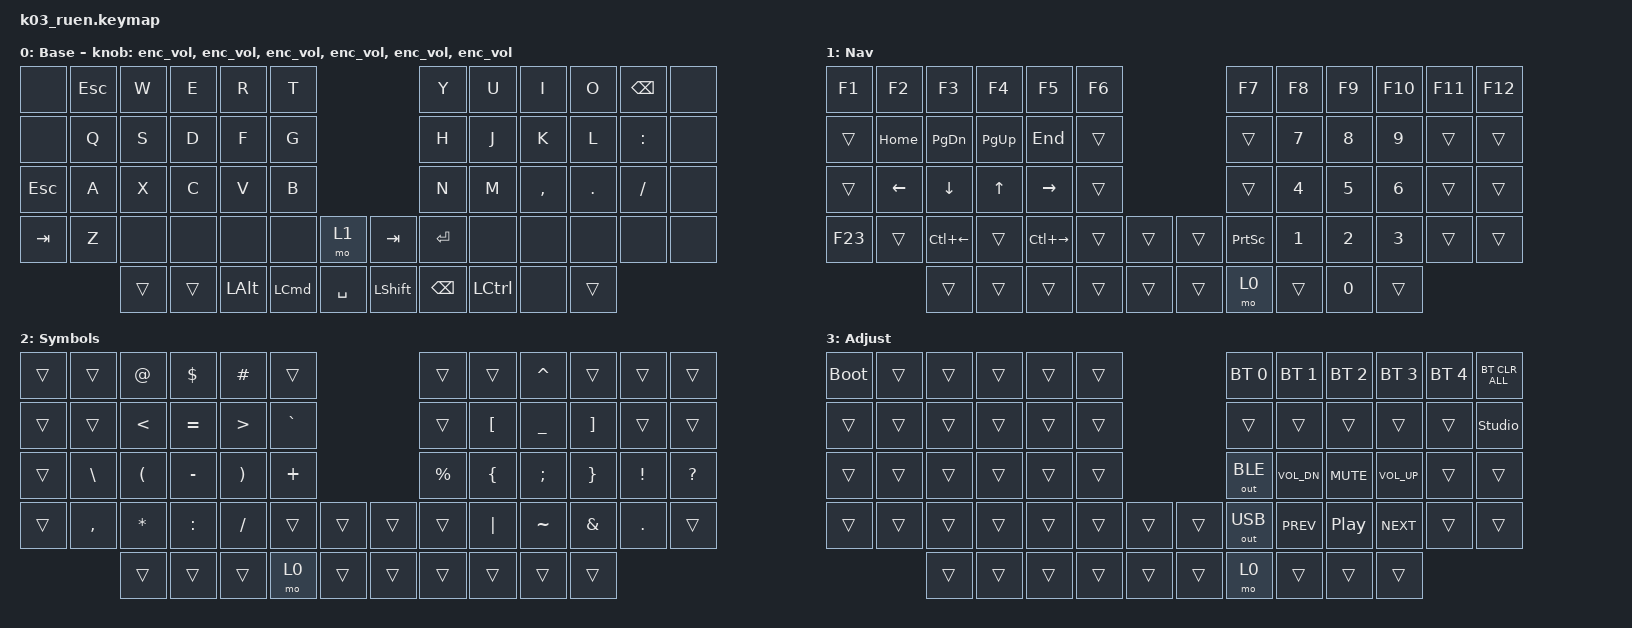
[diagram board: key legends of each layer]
#include "keys_ru.h"
#include <behaviors.dtsi>
#include <dt-bindings/zmk/bt.h>
#include <dt-bindings/zmk/keys.h>
#include <dt-bindings/zmk/outputs.h>

/ {
    behaviors {
        enc_vol: enc_vol {
            compatible = "zmk,behavior-sensor-rotate";
            label = "ENC_VOL";
            #sensor-binding-cells = <0>;
            bindings = <&kp C_VOL_UP>, <&kp C_VOL_DN>;
        };

        hml: hml {
            compatible = "zmk,behavior-hold-tap";
            label = "HML";
            bindings = <&kp>, <&kp>;

            #binding-cells = <2>;
            flavor = "balanced";
            tapping-term-ms = <150>;
            quick-tap-ms = <175>;
            require-prior-idle-ms = <175>;
            hold-trigger-key-positions = <6 7 8 9 10 11 18 19 20 21 22 23 30 31 32 33 34 35 43 44 45 46 47 48 49 55 56 57 58 59>;
            hold-trigger-on-release;
        };

        hmr: hmr {
            compatible = "zmk,behavior-hold-tap";
            label = "HMR";
            bindings = <&kp>, <&kp>;

            #binding-cells = <2>;
            flavor = "balanced";
            tapping-term-ms = <150>;
            quick-tap-ms = <175>;
            require-prior-idle-ms = <175>;
            hold-trigger-key-positions = <0 1 2 3 4 5 12 13 14 15 16 17 24 25 26 27 28 29 36 37 38 39 40 41 42 50 51 52 53 54>;
            hold-trigger-on-release;
        };

        backspace_behaviour: backspace_behaviour {
            compatible = "zmk,behavior-mod-morph";
            label = "BACKSPACE_BEHAVIOUR";
            bindings = <&kp H>, <&kp BACKSPACE>;

            #binding-cells = <0>;
            mods = <(MOD_LCTL|MOD_RCTL)>;
        };

        word_backspace_behaviour: word_backspace_behaviour {
            compatible = "zmk,behavior-mod-morph";
            label = "WORD_BACKSPACE_BEHAVIOUR";
            bindings = <&kp W>, <&kp LA(BACKSPACE)>;

            #binding-cells = <0>;
            mods = <(MOD_RCTL|MOD_LCTL)>;
        };

        colon_semicolon: colon_semicolon {
            compatible = "zmk,behavior-mod-morph";
            label = "COLON_SEMICOLON";
            bindings = <&kp COLON>, <&kp SEMICOLON>;

            #binding-cells = <0>;
            mods = <(MOD_LSFT|MOD_RSFT)>;
        };
    };

    combos {
        compatible = "zmk,combos";

        cmben {
            bindings = <&layer_en>;
            key-positions = <15 16>;
        };

        cmbru {
            bindings = <&layer_ru>;
            key-positions = <15 16>;
            layers = <0>;
        };
    };

    macros {
        to_ru: to_ru {
            compatible = "zmk,behavior-macro";
            #binding-cells = <0>;
            bindings = <&kp LS(LC(N2))>;
            label = "TO_RU";
            wait-ms = <0>;
            tap-ms = <30>;
        };

        to_en: to_en {
            compatible = "zmk,behavior-macro";
            #binding-cells = <0>;
            bindings = <&kp LS(LC(N1))>;
            label = "TO_EN";
            wait-ms = <0>;
            tap-ms = <30>;
        };

        layer_en: layer_en {
            compatible = "zmk,behavior-macro";
            #binding-cells = <0>;
            bindings = <&to 0 &to_en>;
            label = "LAYER_EN";
            wait-ms = <0>;
            tap-ms = <30>;
        };

        layer_ru: layer_ru {
            compatible = "zmk,behavior-macro";
            #binding-cells = <0>;
            bindings = <&to 0 &to_ru>;
            label = "LAYER_RU";
            tap-ms = <30>;
            wait-ms = <0>;
        };

        en: en {
            compatible = "zmk,behavior-macro-one-param";
            #binding-cells = <1>;
            bindings =
                <&to_en>,
                <&macro_press>,
                <&macro_param_1to1 &kp MACRO_PLACEHOLDER>,
                <&macro_pause_for_release>,
                <&macro_release>,
                <&macro_param_1to1 &kp MACRO_PLACEHOLDER>,
                <&macro_tap>,
                <&to_ru>;

            label = "EN";
            wait-ms = <0>;
            tap-ms = <30>;
        };
    };

    keymap {
        compatible = "zmk,keymap";

        en {
            bindings = <
&none    &kp ESC  &kp W   &kp E   &kp R         &kp T                                          &kp Y          &kp U             &kp I      &kp O    &kp BACKSPACE  &none
&none    &kp Q    &kp S   &kp D   &kp F         &kp G                                          &kp H          &kp J             &kp K      &kp L    &kp COLON      &none
&kp ESC  &kp A    &kp X   &kp C   &kp V         &kp B                                          &kp N          &kp M             &kp COMMA  &kp DOT  &kp FSLH       &none
&kp TAB  &kp Z    &none   &none   &none         &none             &mo 1        &kp TAB         &kp ENTER      &none             &none      &none    &none          &none
                  &trans  &trans  &kp LEFT_ALT  &kp LEFT_COMMAND  &kp SPACE    &kp LEFT_SHIFT  &kp BACKSPACE  &kp LEFT_CONTROL  &none      &trans
            >;

            display-name = "Base";
            sensor-bindings =
                <&enc_vol>,
                <&enc_vol>,
                <&enc_vol>,
                <&enc_vol>,
                <&enc_vol>,
                <&enc_vol>;
        };

        nav {
            bindings = <
&kp F1   &kp F2          &kp F3          &kp F4        &kp F5         &kp F6                    &kp F7           &kp F8  &kp F9  &kp F10  &kp F11  &kp F12
&trans   &kp HOME        &kp PAGE_DOWN   &kp PAGE_UP   &kp END        &trans                    &trans           &kp N7  &kp N8  &kp N9   &trans   &trans
&trans   &kp LEFT_ARROW  &kp DOWN_ARROW  &kp UP_ARROW  &kp RIGHT      &trans                    &trans           &kp N4  &kp N5  &kp N6   &trans   &trans
&kp F23  &trans          &kp LC(LEFT)    &trans        &kp LC(RIGHT)  &trans  &trans    &trans  &kp PRINTSCREEN  &kp N1  &kp N2  &kp N3   &trans   &trans
                         &trans          &trans        &trans         &trans  &trans    &trans  &mo 0            &trans  &kp N0  &trans
            >;

            display-name = "Nav";
        };

        sym_en {
            bindings = <
&trans  &trans     &kp AT    &kp DLLR   &kp HASH  &trans                       &trans     &trans    &kp CARET  &trans    &trans    &trans
&trans  &trans     &kp LT    &kp EQUAL  &kp GT    &kp GRAVE                    &trans     &kp LBKT  &kp UNDER  &kp RBKT  &trans    &trans
&trans  &kp BSLH   &kp LPAR  &kp MINUS  &kp RPAR  &kp PLUS                     &kp PRCNT  &kp LBRC  &kp SEMI   &kp RBRC  &kp EXCL  &kp QUESTION
&trans  &kp COMMA  &kp STAR  &kp COLON  &kp FSLH  &trans     &trans    &trans  &trans     &kp PIPE  &kp TILDE  &kp AMPS  &kp DOT   &trans
                   &trans    &trans     &trans    &mo 0      &trans    &trans  &trans     &trans    &trans     &trans
            >;

            display-name = "Symbols";
        };

        adj {
            bindings = <
&bootloader  &trans  &trans  &trans  &trans  &trans                    &bt BT_SEL 0  &bt BT_SEL 1  &bt BT_SEL 2      &bt BT_SEL 3  &bt BT_SEL 4  &bt BT_CLR_ALL
&trans       &trans  &trans  &trans  &trans  &trans                    &trans        &trans        &trans            &trans        &trans        &studio_unlock
&trans       &trans  &trans  &trans  &trans  &trans                    &out OUT_BLE  &kp C_VOL_DN  &kp C_MUTE        &kp C_VOL_UP  &trans        &trans
&trans       &trans  &trans  &trans  &trans  &trans  &trans    &trans  &out OUT_USB  &kp C_PREV    &kp C_PLAY_PAUSE  &kp C_NEXT    &trans        &trans
                     &trans  &trans  &trans  &trans  &trans    &trans  &mo 0         &trans        &trans            &trans
            >;

            display-name = "Adjust";
        };
    };
};
